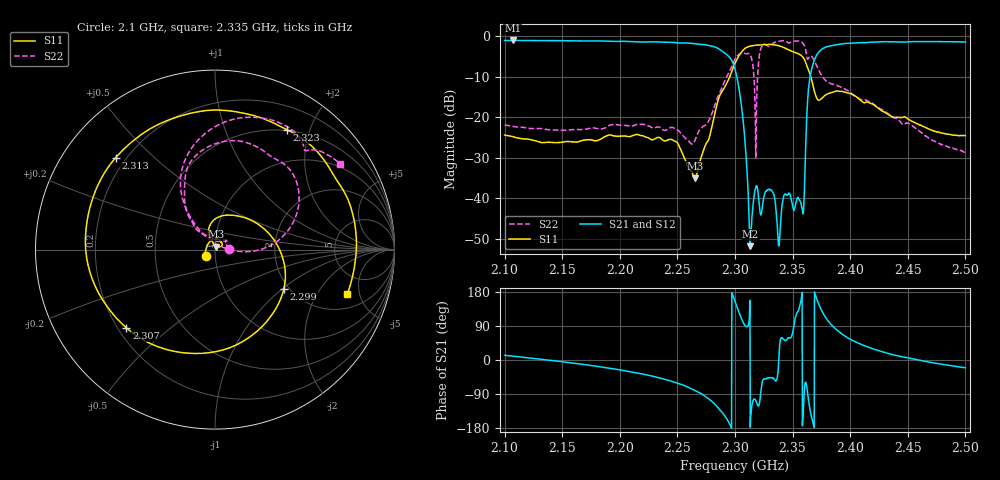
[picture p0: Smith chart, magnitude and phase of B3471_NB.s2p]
! Matrix data file written by TouchstoneData, EPCOS AG
! FILENAME: "AA47A_3_PCB04_V3_10nH_2.4nH_2.4nH_10nH_NB.snp"
! COMMENT: "(TS/AA47A_3_PCB04_V3_10nH_2.4nH_2.4nH_10nH_N"
! INFO: nport=2, nfreq=1601
! DATE: "Tue Jan 15 09:08:04 2013"
! USER: "Wee Chuan Tay"
! port | pin | signal
!  1  |  9  |  Input
!  2  |  6  |  Output
# MHZ S RI R 50
! freq  reS11 imS11  reS21 imS21  reS12 imS12  reS22 imS22
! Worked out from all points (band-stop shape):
!   1601 points, 2.1 GHz to 2.5 GHz, reference 50 ohm
!   highest |S21| = -1.06 dB at 2.107 GHz (marker M1); lowest = -51.8 dB at 2.313 GHz (marker M2)
!   |S21| within 3 dB of the highest: start of sweep to 2.291 GHz; 2.372 GHz to end of sweep
!   lowest |S11| = -35.0 dB at 2.265 GHz (marker M3), VSWR 1.04, Z = 50.6 + j1.68 ohm
!   |S11| at or under -10 dB: start of sweep to 2.295 GHz; 2.366 GHz to end of sweep
!   |S22| runs from -30.1 to -1.1 dB; largest |S21 - S12| = 0
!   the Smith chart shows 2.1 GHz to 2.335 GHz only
!   S11 on the Smith chart (normalised r, x): 2.1 GHz: 0.90, -0.06; 2.299 GHz: 1.89, -1.02; 2.307 GHz: 0.23, -0.36; 2.313 GHz: 0.16, +0.38; 2.323 GHz: 0.49, +1.66; 2.335 GHz: 3.05, -3.80
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2100  -0.0503 -0.0335  0.8637 0.1899  0.8637 0.1899  0.0806 0.00475
2107  -0.0519 -0.0257  0.8715 0.1571  0.8715 0.1571  0.0772 0.00732
2166.75  -0.0345 0.0385  0.8561 -0.1665  0.8561 -0.1665  0.062 0.0339
2233.5  0.0325 0.0464  0.5834 -0.6159  0.5834 -0.6159  0.0566 0.0509
2265  0.00628 0.0166  0.1393 -0.7928  0.1393 -0.7928  -0.0029 0.0509
2290.5  0.132 0.1863  -0.5126 -0.3629  -0.5126 -0.3629  -0.1594 0.2155
2299.25  0.3841 -0.217  -0.4042 0.1356  -0.4042 0.1356  -0.1454 0.4726
2300  0.3539 -0.3013  -0.3548 0.165  -0.3548 0.165  -0.1233 0.5057
2306.5  -0.494 -0.4359  -0.025 0.1051  -0.025 0.1051  0.1881 0.5917
2313.25  -0.5538 0.5113  -0.00258 -0.000118  -0.00258 -0.000118  0.4575 0.3672
2318  -0.0673 0.7725  -0.00391 -0.0132  -0.00391 -0.0132  0.0219 0.0223
2323  0.4028 0.6672  0.0022 -0.0062  0.0022 -0.0062  0.1018 0.7259
2335  0.7373 -0.2466  0.00515 -0.00723  0.00515 -0.00723  0.6971 0.4787
2338.25  0.5799 -0.4916  0.00256 0.000717  0.00256 0.000717  0.7886 0.3605
2346.25  -0.126 -0.6699  0.0059 0.0098  0.0059 0.0098  0.8264 0.0273
2353.25  -0.6115 -0.1126  -0.00469 0.00792  -0.00469 0.00792  0.8378 -0.2379
2358.25  -0.2882 0.4852  -0.00756 0.000239  -0.00756 0.000239  0.6661 -0.5036
2366.75  0.2334 -0.1587  -0.3639 -0.1746  -0.3639 -0.1746  0.3224 -0.457
2373  -0.1624 -0.0104  -0.528 0.3672  -0.528 0.3672  0.1472 -0.3424
2384.25  0.0975 0.1787  -0.0131 0.7667  -0.0131 0.7667  0.1365 -0.2181
2433.5  0.0237 -0.1048  0.8183 0.2462  0.8183 0.2462  0.0393 -0.1017
2500  -0.0592 0.00473  0.794 -0.2974  0.794 -0.2974  0.0335 -0.016
